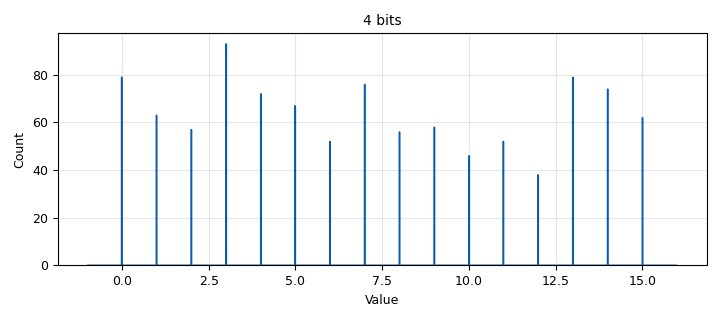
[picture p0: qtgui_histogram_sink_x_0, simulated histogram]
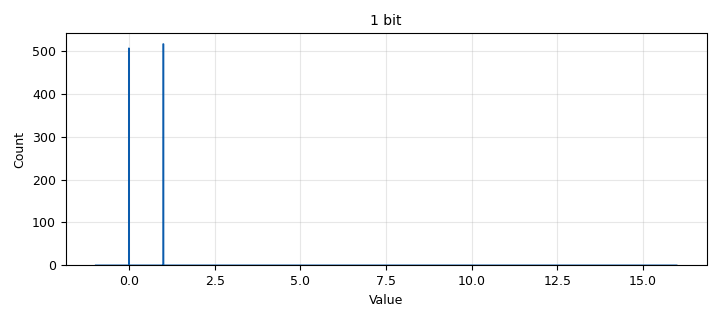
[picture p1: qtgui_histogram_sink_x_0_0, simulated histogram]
options:
  parameters:
    generate_options: qt_gui
    id: packing_bits
    output_language: python
    title: packing_bits
  states: {}

blocks:
- name: samp_rate
  id: variable
  parameters:
    value: '32000'
  states: {}
- name: analog_random_source_x_0
  id: analog_random_source_x
  parameters:
    comment: |-
      The value displayed on the x axis is the decimal
      value of each chunk of data. 

      Each char of Random Source contains either a
      1 or 0 (an eight bit char is allocated for each bit).
      With the Pack K set to 4, 4 bits are packed into
      a char. 

      So in the histogram you are seing the values
      (in decimal) of each char being fed into the 
      histogram. For the "1 bit" graph you see a 1 or 0.
      For the "4 bit" graph you see values from 0-15
      (2^4 total values).
    max: '2'
    min: '0'
    num_samps: '1000'
    repeat: 'True'
    type: byte
  states: {}
- name: blocks_char_to_float_0
  id: blocks_char_to_float
  parameters:
    scale: '1'
  states: {}
- name: blocks_char_to_float_1
  id: blocks_char_to_float
  parameters:
    scale: '1'
  states: {}
- name: blocks_pack_k_bits_bb_0
  id: blocks_pack_k_bits_bb
  parameters:
    k: '4'
  states: {}
- name: blocks_throttle2_0
  id: blocks_throttle2
  parameters:
    samples_per_second: samp_rate
    type: byte
  states: {}
- name: qtgui_histogram_sink_x_0
  id: qtgui_histogram_sink_x
  parameters:
    bins: '1024'
    name: '"4 bits"'
    size: '1024'
    type: float
    xmax: '16'
    xmin: '-1'
  states: {}
- name: qtgui_histogram_sink_x_0_0
  id: qtgui_histogram_sink_x
  parameters:
    bins: '1024'
    name: '"1 bit"'
    size: '1024'
    type: float
    xmax: '16'
    xmin: '-1'
  states: {}

connections:
- [analog_random_source_x_0, '0', blocks_throttle2_0, '0']
- [blocks_char_to_float_0, '0', qtgui_histogram_sink_x_0, '0']
- [blocks_char_to_float_1, '0', qtgui_histogram_sink_x_0_0, '0']
- [blocks_pack_k_bits_bb_0, '0', blocks_char_to_float_0, '0']
- [blocks_throttle2_0, '0', blocks_char_to_float_1, '0']
- [blocks_throttle2_0, '0', blocks_pack_k_bits_bb_0, '0']

metadata:
  file_format: 1
  grc_version: 3.10.6.0
